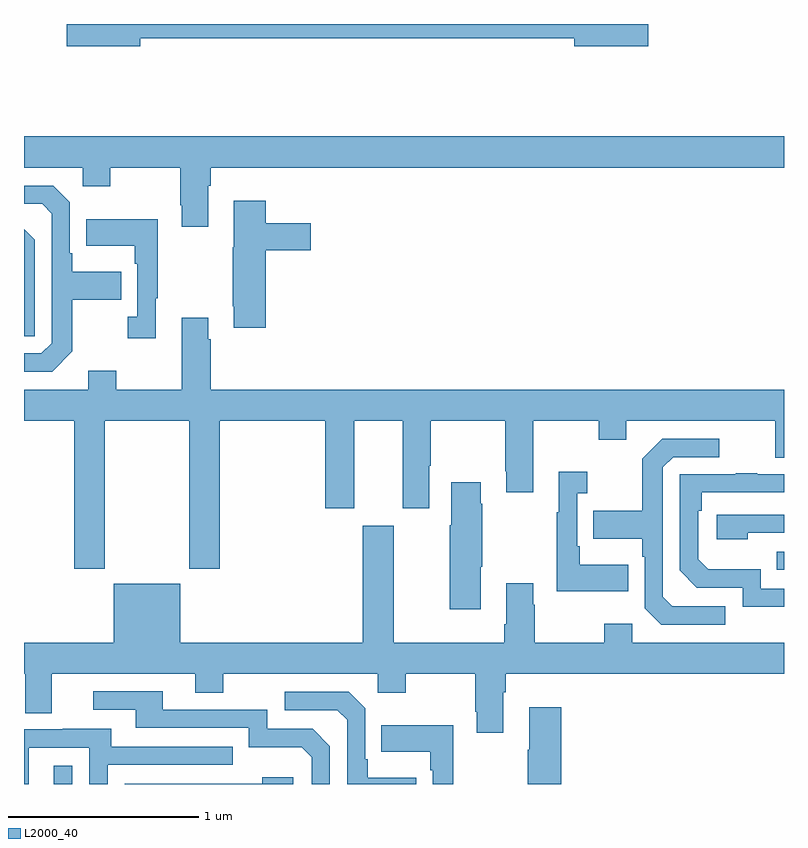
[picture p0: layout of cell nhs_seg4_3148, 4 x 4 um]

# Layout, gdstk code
import gdstk
lib = gdstk.Library(unit=1e-6, precision=1e-09)
def R(c, l, rs):  # rectangles x0, y0, x1, y1
    for r in rs: c.add(gdstk.rectangle(r[:2], r[2:], *l))
def P(c, l, *ps):  # polygons
    for p in ps: c.add(gdstk.Polygon(p, *l))
L2000_40 = (2000, 40)

nhs_seg4_3148 = lib.new_cell('nhs_seg4_3148')
R(nhs_seg4_3148, L2000_40, [(277.157,802.9,277.254,802.996), (280.963,804.027,281,804.123)])
P(nhs_seg4_3148, L2000_40, [(277.612,806.824),(279.896,806.824),(279.896,806.782),(280.285,806.782),(280.285,806.9),(277.224,806.9),(277.224,806.782),(277.612,806.782)],
  [(277.969,806.048),(277.982,806.048),(277.982,806.144),(281,806.144),(281,806.308),(277,806.308),(277,806.144),(277.308,806.144),(277.308,806.045),(277.455,806.045),(277.455,806.144),(277.822,806.144),(277.822,805.945),(277.829,805.945),(277.829,805.833),(277.969,805.833)],
  [(277.255,805.177),(277.255,805.45),(277.511,805.45),(277.511,805.597),(277.255,805.597),(277.255,805.693),(277.242,805.693),(277.242,805.962),(277.155,806.049),(277,806.049),(277,805.953),(277.095,805.953),(277.146,805.902),(277.146,805.221),(277.092,805.167),(277,805.167),(277,805.071),(277.149,805.071)],
  [(278.273,805.709),(278.509,805.709),(278.509,805.851),(278.273,805.851),(278.273,805.969),(278.105,805.969),(278.105,805.725),(278.098,805.725),(278.098,805.414),(278.105,805.414),(278.105,805.302),(278.273,805.302)],
  [(277.693,805.457),(277.705,805.457),(277.705,805.873),(277.327,805.873),(277.327,805.733),(277.584,805.733),(277.584,805.637),(277.596,805.637),(277.596,805.358),(277.545,805.358),(277.545,805.245),(277.693,805.245)],
  [(277.056,805.764),(277,805.82),(277,805.257),(277.056,805.257)],
  [(277.425,804.812),(277.87,804.812),(277.87,804.033),(278.03,804.033),(278.03,804.812),(278.585,804.812),(278.585,804.351),(278.737,804.351),(278.737,804.812),(278.993,804.812),(278.993,804.351),(279.133,804.351),(279.133,804.574),(279.141,804.574),(279.141,804.812),(279.532,804.812),(279.532,804.547),(279.539,804.547),(279.539,804.435),(279.679,804.435),(279.679,804.812),(280.024,804.812),(280.024,804.713),(280.171,804.713),(280.171,804.812),(280.955,804.812),(280.955,804.618),(281,804.618),(281,804.976),(277.982,804.976),(277.982,805.241),(277.969,805.241),(277.969,805.354),(277.829,805.354),(277.829,804.976),(277.485,804.976),(277.485,805.075),(277.337,805.075),(277.337,804.976),(277,804.976),(277,804.812),(277.265,804.812),(277.265,804.033),(277.425,804.033)],
  [(280.69,803.835),(280.413,803.835),(280.362,803.886),(280.362,804.567),(280.416,804.621),(280.66,804.621),(280.66,804.717),(280.359,804.717),(280.254,804.611),(280.254,804.339),(279.997,804.339),(279.997,804.191),(280.254,804.191),(280.254,804.095),(280.266,804.095),(280.266,803.826),(280.353,803.739),(280.69,803.739)],
  [(280.181,804.055),(279.925,804.055),(279.925,804.151),(279.912,804.151),(279.912,804.431),(279.964,804.431),(279.964,804.544),(279.815,804.544),(279.815,804.331),(279.804,804.331),(279.804,803.915),(280.181,803.915)],
  [(281,803.928),(280.878,803.928),(280.878,804.031),(280.601,804.031),(280.548,804.084),(280.548,804.338),(280.568,804.338),(280.568,804.435),(281,804.435),(281,804.531),(280.859,804.531),(280.859,804.536),(280.747,804.536),(280.747,804.531),(280.452,804.531),(280.452,804.024),(280.542,803.934),(280.782,803.934),(280.782,803.832),(281,803.832)],
  [(279.403,804.043),(279.411,804.043),(279.411,804.374),(279.403,804.374),(279.403,804.487),(279.248,804.487),(279.248,804.263),(279.241,804.263),(279.241,803.82),(279.403,803.82)],
  [(280.808,804.222),(281,804.222),(281,804.318),(280.647,804.318),(280.647,804.188),(280.808,804.188)],
  [(279.523,803.384),(279.536,803.384),(279.536,803.48),(281,803.48),(281,803.644),(280.2,803.644),(280.2,803.743),(280.054,803.743),(280.054,803.644),(279.687,803.644),(279.687,803.843),(279.679,803.843),(279.679,803.956),(279.539,803.956),(279.539,803.74),(279.527,803.74),(279.527,803.644),(278.947,803.644),(278.947,804.259),(278.783,804.259),(278.783,803.644),(277.822,803.644),(277.822,803.953),(277.472,803.953),(277.472,803.644),(277,803.644),(277,803.48),(277.007,803.48),(277.007,803.272),(277.147,803.272),(277.147,803.48),(277.901,803.48),(277.901,803.381),(278.049,803.381),(278.049,803.48),(278.862,803.48),(278.862,803.381),(279.009,803.381),(279.009,803.48),(279.376,803.48),(279.376,803.281),(279.383,803.281),(279.383,803.169),(279.523,803.169)],
  [(278.61,803.1),(278.52,803.19),(278.28,803.19),(278.28,803.292),(277.729,803.292),(277.729,803.388),(277.365,803.388),(277.365,803.292),(277.589,803.292),(277.589,803.196),(278.184,803.196),(278.184,803.093),(278.461,803.093),(278.514,803.04),(278.514,802.9),(278.61,802.9)],
  [(279.065,802.933),(278.809,802.933),(278.809,803.029),(278.796,803.029),(278.796,803.298),(278.709,803.385),(278.373,803.385),(278.373,803.289),(278.649,803.289),(278.7,803.238),(278.7,802.9),(279.065,802.9)],
  [(279.827,803.305),(279.659,803.305),(279.659,803.081),(279.652,803.081),(279.652,802.9),(279.827,802.9)],
  [(279.259,803.209),(278.881,803.209),(278.881,803.069),(279.138,803.069),(279.138,802.973),(279.15,802.973),(279.15,802.9),(279.259,802.9)],
  [(277.026,803.091),(277.344,803.091),(277.344,802.9),(277.44,802.9),(277.44,803.001),(278.099,803.001),(278.099,803.097),(277.459,803.097),(277.459,803.191),(277.205,803.191),(277.205,803.187),(277,803.187),(277,802.9),(277.026,802.9)],
  [(278.416,802.936),(278.255,802.936),(278.255,802.902),(277.53,802.902),(277.53,802.9),(278.416,802.9)])

lib.write_gds('nhs_seg4_3148.gds')
